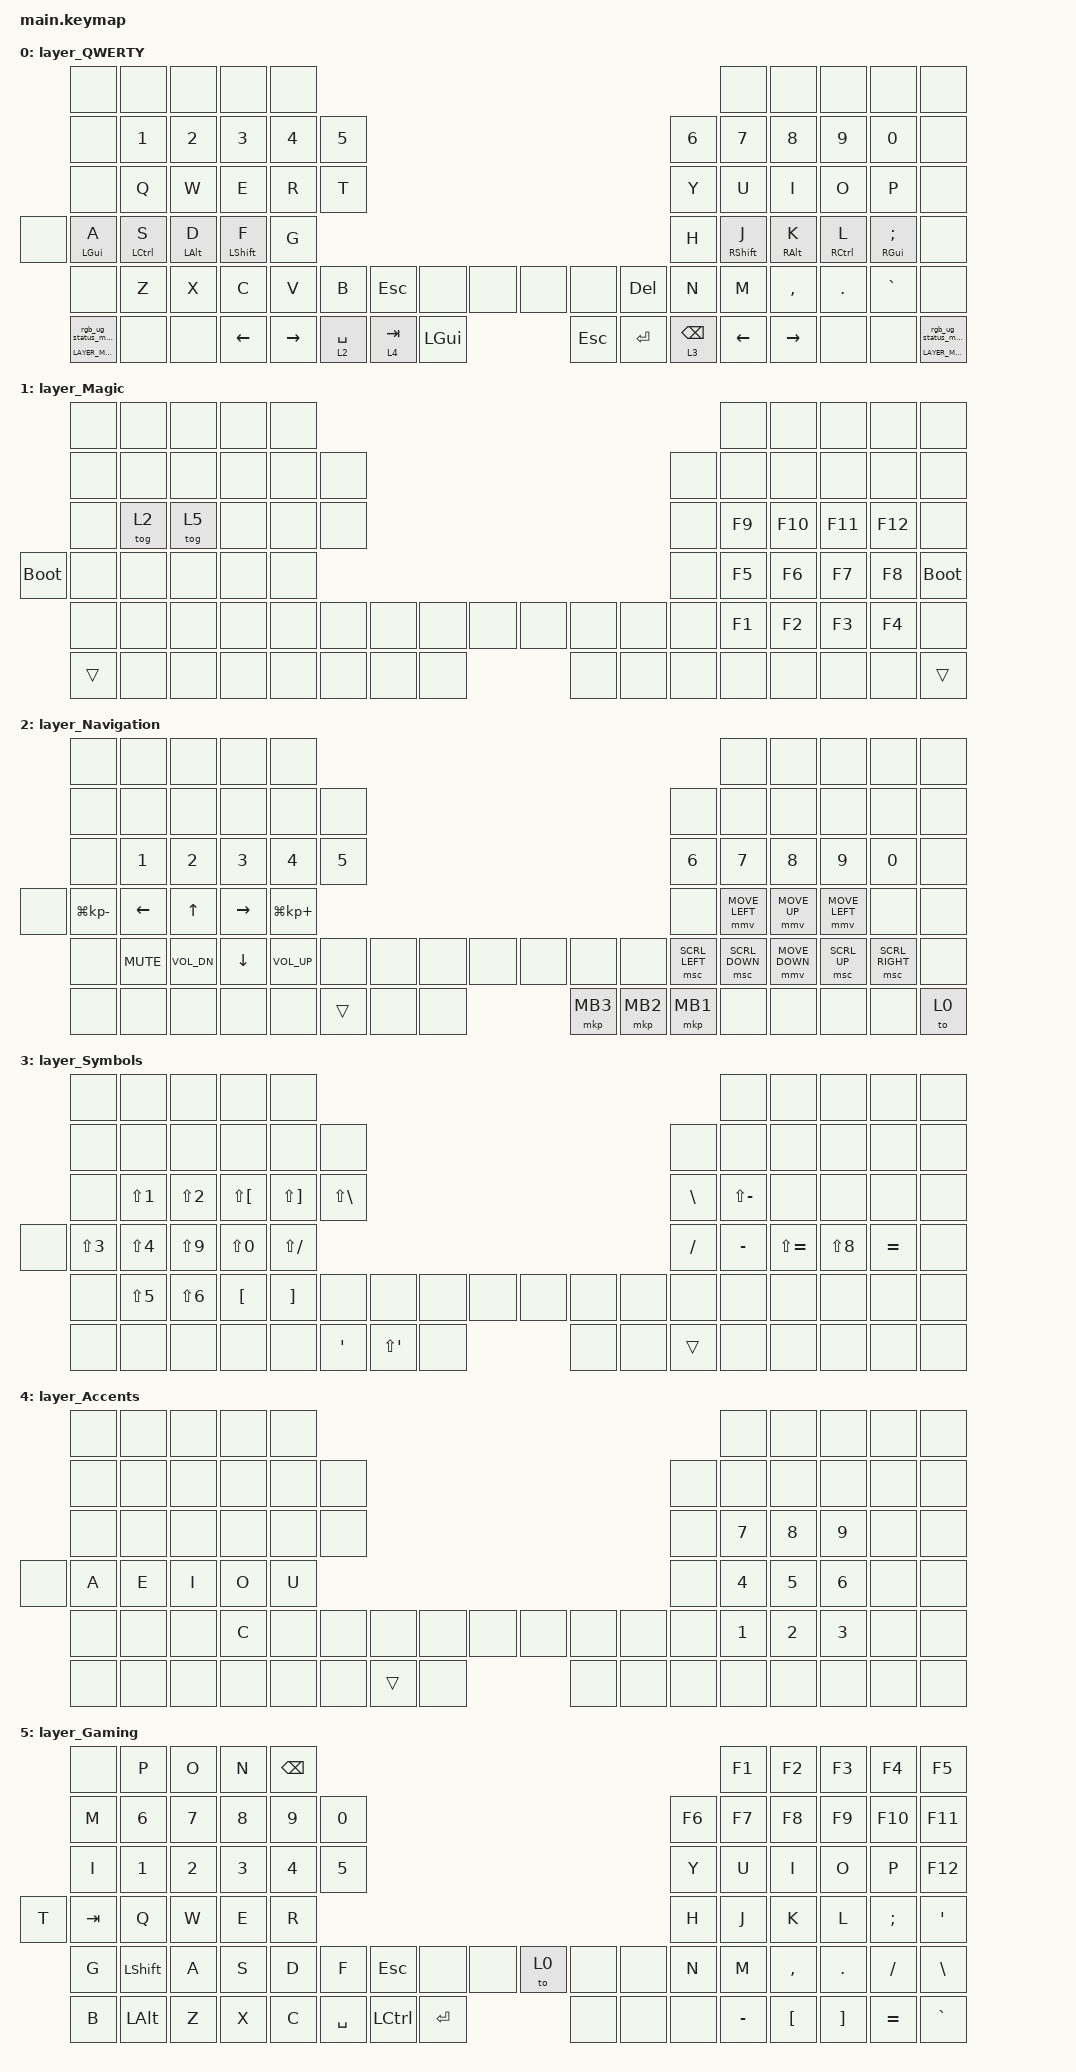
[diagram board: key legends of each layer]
/*
 * Copyright (c) 2020 The ZMK Contributors
 * Copyright (c) 2025 Innaworks Development Limited, trading as MoErgo
 *
 * SPDX-License-Identifier: MIT
 */


/* THIS FILE WAS GENERATED BY GLOVE80 LAYOUT EDITOR
 *
 * This file was generated automatically. You may or may not want to
 * edit it directly.
 */

#include <behaviors.dtsi>
/* Include all behavior includes needed */
#include <dt-bindings/zmk/outputs.h>
#include <dt-bindings/zmk/keys.h>
#include <dt-bindings/zmk/bt.h>
#include <dt-bindings/zmk/rgb.h>

/* On demand includes */
#include <dt-bindings/zmk/pointing.h>

/* Helper Macros, based on https://github.com/urob/zmk-helpers/ */

#pragma once

#define ZMK_HELPER_STRINGIFY(x) #x

// Preprocessor mechanism to overload macros, cf. https://stackoverflow.com/a/27051616/6114651
#define VARGS_(_10, _9, _8, _7, _6, _5, _4, _3, _2, _1, N, ...) N
#define VARGS(...) VARGS_(__VA_ARGS__, 10, 9, 8, 7, 6, 5, 4, 3, 2, 1, 0)
#define CONCAT_(a, b) a##b
#define CONCAT(a, b) CONCAT_(a, b)

#define ZMK_BEHAVIOR_CORE_tap_dance  \
    compatible = "zmk,behavior-tap-dance"; \
    #binding-cells = <0>

#define ZMK_BEHAVIOR(name, type, ...) \
    name: name { \
        ZMK_BEHAVIOR_CORE_ ## type; \
        __VA_ARGS__ \
    };

#define ZMK_TAP_DANCE(name, ...) \
    ZMK_BEHAVIOR(name, tap_dance, __VA_ARGS__)

#define ZMK_TD_LAYER(name, layer) \
    ZMK_TAP_DANCE(name, \
        tapping-term-ms = <200>; \
        bindings = <&mo layer>, <&to layer>; \
)

/* Automatically generated layer name #define */
#define LAYER_QWERTY 0
#define LAYER_Magic 1
#define LAYER_Navigation 2
#define LAYER_Symbols 3
#define LAYER_Accents 4
#define LAYER_Gaming 5

/* To deal with the situation where there is no Lower layer, to keep &lower happy */
#ifndef LAYER_Lower
#define LAYER_Lower 0
#endif

/* Custom Device-tree */


/* Input Listeners */


/* System behavior and Macros */
/ {
    behaviors {
        ZMK_TD_LAYER(lower, LAYER_Lower)
    };
};

/ {
    macros {
        rgb_ug_status_macro: rgb_ug_status_macro {
            label = "RGB_UG_STATUS";
            compatible = "zmk,behavior-macro";
            #binding-cells = <0>;
            bindings
                = <&rgb_ug RGB_STATUS>;
        };
    };
};


/ {
#ifdef BT_DISC_CMD
    behaviors {
        bt_0: bt_0 {
            compatible = "zmk,behavior-tap-dance";
            label = "BT_0";
            #binding-cells = <0>;
            tapping-term-ms = <200>;
            bindings = <&bt_select_0>, <&bt BT_DISC 0>;
        };
        bt_1: bt_1 {
            compatible = "zmk,behavior-tap-dance";
            label = "BT_1";
            #binding-cells = <0>;
            tapping-term-ms = <200>;
            bindings = <&bt_select_1>, <&bt BT_DISC 1>;
        };
        bt_2: bt_2 {
            compatible = "zmk,behavior-tap-dance";
            label = "BT_2";
            #binding-cells = <0>;
            tapping-term-ms = <200>;
            bindings = <&bt_select_2>, <&bt BT_DISC 2>;
        };
        bt_3: bt_3 {
            compatible = "zmk,behavior-tap-dance";
            label = "BT_3";
            #binding-cells = <0>;
            tapping-term-ms = <200>;
            bindings = <&bt_select_3>, <&bt BT_DISC 3>;
        };
    };
    macros {
        bt_select_0: bt_select_0 {
            label = "BT_SELECT_0";
            compatible = "zmk,behavior-macro";
            #binding-cells = <0>;
            bindings
                = <&out OUT_BLE>,
                  <&bt BT_SEL 0>;
        };
        bt_select_1: bt_select_1 {
            label = "BT_SELECT_1";
            compatible = "zmk,behavior-macro";
            #binding-cells = <0>;
            bindings
                = <&out OUT_BLE>,
                  <&bt BT_SEL 1>;
        };
        bt_select_2: bt_select_2 {
            label = "BT_SELECT_2";
            compatible = "zmk,behavior-macro";
            #binding-cells = <0>;
            bindings
                = <&out OUT_BLE>,
                  <&bt BT_SEL 2>;
        };
        bt_select_3: bt_select_3 {
            label = "BT_SELECT_3";
            compatible = "zmk,behavior-macro";
            #binding-cells = <0>;
            bindings
                = <&out OUT_BLE>,
                  <&bt BT_SEL 3>;
        };
    };
#else
    macros {
        bt_0: bt_0 {
            label = "BT_0";
            compatible = "zmk,behavior-macro";
            #binding-cells = <0>;
            bindings
                = <&out OUT_BLE>,
                  <&bt BT_SEL 0>;
        };
        bt_1: bt_1 {
            label = "BT_1";
            compatible = "zmk,behavior-macro";
            #binding-cells = <0>;
            bindings
                = <&out OUT_BLE>,
                  <&bt BT_SEL 1>;
        };
        bt_2: bt_2 {
            label = "BT_2";
            compatible = "zmk,behavior-macro";
            #binding-cells = <0>;
            bindings
                = <&out OUT_BLE>,
                  <&bt BT_SEL 2>;
        };
        bt_3: bt_3 {
            label = "BT_3";
            compatible = "zmk,behavior-macro";
            #binding-cells = <0>;
            bindings
                = <&out OUT_BLE>,
                  <&bt BT_SEL 3>;
        };
    };
#endif
};

/ {
    behaviors {
        magic: magic {
            compatible = "zmk,behavior-hold-tap";
            label = "MAGIC_HOLD_TAP";
            #binding-cells = <2>;
            flavor = "tap-preferred";
            tapping-term-ms = <200>;
            bindings = <&mo>, <&rgb_ug_status_macro>;
        };
    };
};

/* #define for key positions */
#define POS_LH_T1 52
#define POS_LH_T2 53
#define POS_LH_T3 54
#define POS_LH_T4 69
#define POS_LH_T5 70
#define POS_LH_T6 71
#define POS_LH_C1R2 15
#define POS_LH_C1R3 27
#define POS_LH_C1R4 39
#define POS_LH_C1R5 51
#define POS_LH_C2R1 4
#define POS_LH_C2R2 14
#define POS_LH_C2R3 26
#define POS_LH_C2R4 38
#define POS_LH_C2R5 50
#define POS_LH_C2R6 68
#define POS_LH_C3R1 3
#define POS_LH_C3R2 13
#define POS_LH_C3R3 25
#define POS_LH_C3R4 37
#define POS_LH_C3R5 49
#define POS_LH_C3R6 67
#define POS_LH_C4R1 2
#define POS_LH_C4R2 12
#define POS_LH_C4R3 24
#define POS_LH_C4R4 36
#define POS_LH_C4R5 48
#define POS_LH_C4R6 66
#define POS_LH_C5R1 1
#define POS_LH_C5R2 11
#define POS_LH_C5R3 23
#define POS_LH_C5R4 35
#define POS_LH_C5R5 47
#define POS_LH_C5R6 65
#define POS_LH_C6R1 0
#define POS_LH_C6R2 10
#define POS_LH_C6R3 22
#define POS_LH_C6R4 34
#define POS_LH_C6R5 46
#define POS_LH_C6R6 64
#define POS_RH_T1 57
#define POS_RH_T2 56
#define POS_RH_T3 55
#define POS_RH_T4 74
#define POS_RH_T5 73
#define POS_RH_T6 72
#define POS_RH_C1R2 16
#define POS_RH_C1R3 28
#define POS_RH_C1R4 40
#define POS_RH_C1R5 58
#define POS_RH_C2R1 5
#define POS_RH_C2R2 17
#define POS_RH_C2R3 29
#define POS_RH_C2R4 41
#define POS_RH_C2R5 59
#define POS_RH_C2R6 75
#define POS_RH_C3R1 6
#define POS_RH_C3R2 18
#define POS_RH_C3R3 30
#define POS_RH_C3R4 42
#define POS_RH_C3R5 60
#define POS_RH_C3R6 76
#define POS_RH_C4R1 7
#define POS_RH_C4R2 19
#define POS_RH_C4R3 31
#define POS_RH_C4R4 43
#define POS_RH_C4R5 61
#define POS_RH_C4R6 77
#define POS_RH_C5R1 8
#define POS_RH_C5R2 20
#define POS_RH_C5R3 32
#define POS_RH_C5R4 44
#define POS_RH_C5R5 62
#define POS_RH_C5R6 78
#define POS_RH_C6R1 9
#define POS_RH_C6R2 21
#define POS_RH_C6R3 33
#define POS_RH_C6R4 45
#define POS_RH_C6R5 63
#define POS_RH_C6R6 79

/* Custom Defined Behaviors */
/ {

};

/* Generated input processors */


/* Automatically generated macro definitions */
/ {
    macros {

    };
};

/* Automatically generated behavior definitions */
/ {
    behaviors {


        mt_tap_prefered: mt_tap_prefered {
            compatible = "zmk,behavior-hold-tap";
            #binding-cells = <2>;
            tapping-term-ms = <200>;
            bindings = <&kp>, <&kp>;
            flavor = "tap-preferred";
        };
    };
};

/* Automatically generated combos definitions */


/* Automatically generated keymap */
/ {
    keymap {
        compatible = "zmk,keymap";


        layer_QWERTY {
            bindings = <
                &none                    &none                     &none                    &none                     &none                                                                                                     &none                    &none                     &none                       &none                 &none
                &none                   &kp N1                    &kp N2                   &kp N3                    &kp N4  &kp N5                                                                  &kp N6                    &kp N7                   &kp N8                    &kp N9                      &kp N0                 &none
                &none                    &kp Q                     &kp W                    &kp E                     &kp R   &kp T                                                                   &kp Y                     &kp U                    &kp I                     &kp O                       &kp P                 &none
                &none  &mt_tap_prefered LGUI A  &mt_tap_prefered LCTRL S  &mt_tap_prefered LALT D  &mt_tap_prefered LSHFT F   &kp G                                                                   &kp H  &mt_tap_prefered RSHFT J  &mt_tap_prefered RALT K  &mt_tap_prefered RCTRL L  &mt_tap_prefered RGUI SEMI                 &none
                &none                    &kp Z                     &kp X                    &kp C                     &kp V   &kp B      &kp ESC      &none     &none    &none    &none     &kp DEL   &kp N                     &kp M                &kp COMMA                   &kp DOT                   &kp GRAVE                 &none
 &magic LAYER_Magic 0                    &none                     &none                 &kp LEFT                 &kp RIGHT          &lt 2 SPACE  &lt 4 TAB  &kp LGUI  &kp ESC  &kp RET  &lt 3 BSPC                          &kp LEFT                &kp RIGHT                     &none                       &none  &magic LAYER_Magic 0
            >;
        };

        layer_Magic {
            bindings = <
       &none   &none   &none   &none   &none                                                                   &none    &none    &none    &none        &none
       &none   &none   &none   &none   &none   &none                                                   &none   &none    &none    &none    &none        &none
       &none  &tog 2  &tog 5   &none   &none   &none                                                   &none  &kp F9  &kp F10  &kp F11  &kp F12        &none
 &bootloader   &none   &none   &none   &none   &none                                                   &none  &kp F5   &kp F6   &kp F7   &kp F8  &bootloader
       &none   &none   &none   &none   &none   &none   &none   &none   &none   &none   &none   &none   &none  &kp F1   &kp F2   &kp F3   &kp F4        &none
      &trans   &none   &none   &none   &none           &none   &none   &none   &none   &none   &none           &none    &none    &none    &none       &trans
            >;
        };

        layer_Navigation {
            bindings = <
  &none             &none         &none     &none         &none                                                                                                  &none           &none           &none            &none   &none
  &none             &none         &none     &none         &none            &none                                                                 &none           &none           &none           &none            &none   &none
  &none            &kp N1        &kp N2    &kp N3        &kp N4           &kp N5                                                                &kp N6          &kp N7          &kp N8          &kp N9           &kp N0   &none
  &none  &kp LG(KP_MINUS)      &kp LEFT    &kp UP     &kp RIGHT  &kp LG(KP_PLUS)                                                                 &none  &mmv MOVE_LEFT    &mmv MOVE_UP  &mmv MOVE_LEFT            &none   &none
  &none        &kp K_MUTE  &kp C_VOL_DN  &kp DOWN  &kp C_VOL_UP            &none   &none   &none   &none     &none     &none     &none  &msc SCRL_LEFT  &msc SCRL_DOWN  &mmv MOVE_DOWN    &msc SCRL_UP  &msc SCRL_RIGHT   &none
  &none             &none         &none     &none         &none                   &trans   &none   &none  &mkp MB3  &mkp MB2  &mkp MB1                           &none           &none           &none            &none   &to 0
            >;
        };

        layer_Symbols {
            bindings = <
  &none       &none       &none         &none         &none                                                                                        &none          &none       &none      &none   &none
  &none       &none       &none         &none         &none         &none                                                           &none          &none          &none       &none      &none   &none
  &none  &kp LS(N1)  &kp LS(N2)  &kp LS(LBKT)  &kp LS(RBKT)  &kp LS(BSLH)                                                        &kp BSLH  &kp LS(MINUS)          &none       &none      &none   &none
  &none  &kp LS(N3)  &kp LS(N4)    &kp LS(N9)    &kp LS(N0)  &kp LS(FSLH)                                                        &kp FSLH      &kp MINUS  &kp LS(EQUAL)  &kp LS(N8)  &kp EQUAL   &none
  &none  &kp LS(N5)  &kp LS(N6)      &kp LBKT      &kp RBKT         &none    &none        &none   &none   &none   &none   &none     &none          &none          &none       &none      &none   &none
  &none       &none       &none         &none         &none                &kp SQT  &kp LS(SQT)   &none   &none   &none  &trans                    &none          &none       &none      &none   &none
            >;
        };

        layer_Accents {
            bindings = <
  &none   &none   &none   &none   &none                                                                   &none   &none   &none   &none   &none
  &none   &none   &none   &none   &none   &none                                                   &none   &none   &none   &none   &none   &none
  &none   &none   &none   &none   &none   &none                                                   &none  &kp N7  &kp N8  &kp N9   &none   &none
  &none   &kp A   &kp E   &kp I   &kp O   &kp U                                                   &none  &kp N4  &kp N5  &kp N6   &none   &none
  &none   &none   &none   &kp C   &none   &none   &none   &none   &none   &none   &none   &none   &none  &kp N1  &kp N2  &kp N3   &none   &none
  &none   &none   &none   &none   &none           &none  &trans   &none   &none   &none   &none           &none   &none   &none   &none   &none
            >;
        };

        layer_Gaming {
            bindings = <
  &none      &kp P   &kp O   &kp N  &kp BSPC                                                                            &kp F1     &kp F2    &kp F3     &kp F4     &kp F5
  &kp M     &kp N6  &kp N7  &kp N8    &kp N9  &kp N0                                                         &kp F6     &kp F7     &kp F8    &kp F9    &kp F10    &kp F11
  &kp I     &kp N1  &kp N2  &kp N3    &kp N4  &kp N5                                                          &kp Y      &kp U      &kp I     &kp O      &kp P    &kp F12
  &kp T    &kp TAB   &kp Q   &kp W     &kp E   &kp R                                                          &kp H      &kp J      &kp K     &kp L   &kp SEMI    &kp SQT
  &kp G  &kp LSHFT   &kp A   &kp S     &kp D   &kp F    &kp ESC      &none    &none   &to 0   &none   &none   &kp N      &kp M  &kp COMMA   &kp DOT   &kp FSLH   &kp BSLH
  &kp B   &kp LALT   &kp Z   &kp X     &kp C          &kp SPACE  &kp LCTRL  &kp RET   &none   &none   &none          &kp MINUS   &kp LBKT  &kp RBKT  &kp EQUAL  &kp GRAVE
            >;
        };

    };
};
